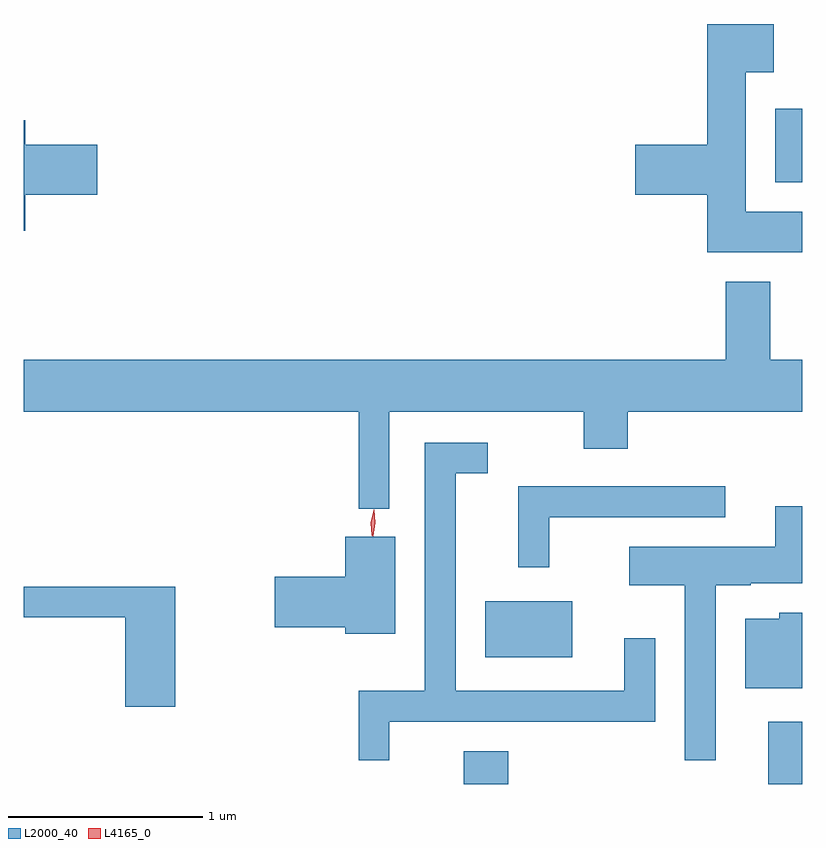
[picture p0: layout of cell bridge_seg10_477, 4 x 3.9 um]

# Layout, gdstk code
import gdstk
lib = gdstk.Library(unit=1e-6, precision=1e-09)
def R(c, l, rs):  # rectangles x0, y0, x1, y1
    for r in rs: c.add(gdstk.rectangle(r[:2], r[2:], *l))
def P(c, l, *ps):  # polygons
    for p in ps: c.add(gdstk.Polygon(p, *l))
L2000_40 = (2000, 40)
L4165_0 = (4165, 0)

bridge_seg10_477 = lib.new_cell('bridge_seg10_477')
R(bridge_seg10_477, L2000_40, [(931.106,2160.845,931.334,2161.014), (932.671,2160.845,932.845,2161.164), (931.216,2161.496,931.664,2161.784), (932.706,2163.936,932.845,2164.314)])
P(bridge_seg10_477, L2000_40, [(932.845,2163.784),(932.554,2163.784),(932.554,2164.501),(932.699,2164.501),(932.699,2164.749),(932.356,2164.749),(932.356,2164.129),(931.986,2164.129),(931.986,2163.871),(932.356,2163.871),(932.356,2163.576),(932.845,2163.576)],
  [(928.854,2163.871),(929.224,2163.871),(929.224,2164.129),(928.854,2164.129),(928.854,2164.254),(928.845,2164.254),(928.845,2163.686),(928.854,2163.686)],
  [(930.724,2162.756),(931.721,2162.756),(931.721,2162.566),(931.949,2162.566),(931.949,2162.756),(932.845,2162.756),(932.845,2163.024),(932.679,2163.024),(932.679,2163.424),(932.451,2163.424),(932.451,2163.024),(928.845,2163.024),(928.845,2162.756),(930.566,2162.756),(930.566,2162.258),(930.724,2162.258)],
  [(930.724,2161.166),(932.089,2161.166),(932.089,2161.593),(931.931,2161.593),(931.931,2161.324),(931.064,2161.324),(931.064,2162.441),(931.228,2162.441),(931.228,2162.599),(930.906,2162.599),(930.906,2161.324),(930.566,2161.324),(930.566,2160.968),(930.724,2160.968)],
  [(931.544,2162.216),(932.448,2162.216),(932.448,2162.374),(931.386,2162.374),(931.386,2161.958),(931.544,2161.958)],
  [(932.399,2161.866),(932.58,2161.866),(932.58,2161.876),(932.845,2161.876),(932.845,2162.273),(932.706,2162.273),(932.706,2162.064),(931.956,2162.064),(931.956,2161.866),(932.241,2161.866),(932.241,2160.968),(932.399,2160.968)],
  [(930.754,2162.114),(930.496,2162.114),(930.496,2161.909),(930.136,2161.909),(930.136,2161.651),(930.496,2161.651),(930.496,2161.616),(930.754,2161.616)],
  [(929.624,2161.859),(928.845,2161.859),(928.845,2161.701),(929.366,2161.701),(929.366,2161.241),(929.624,2161.241)],
  [(932.845,2161.724),(932.726,2161.724),(932.726,2161.694),(932.551,2161.694),(932.551,2161.336),(932.845,2161.336)])
P(bridge_seg10_477, L4165_0, [(930.639,2162.118),(930.639,2162.118),(930.632,2162.187),(930.644,2162.254),(930.645,2162.255),(930.645,2162.254),(930.652,2162.186),(930.64,2162.118)],
  [(930.634,2162.121),(930.634,2162.122),(930.629,2162.187),(930.643,2162.251),(930.644,2162.252),(930.644,2162.251),(930.649,2162.186),(930.635,2162.122)])

lib.write_gds('bridge_seg10_477.gds')
